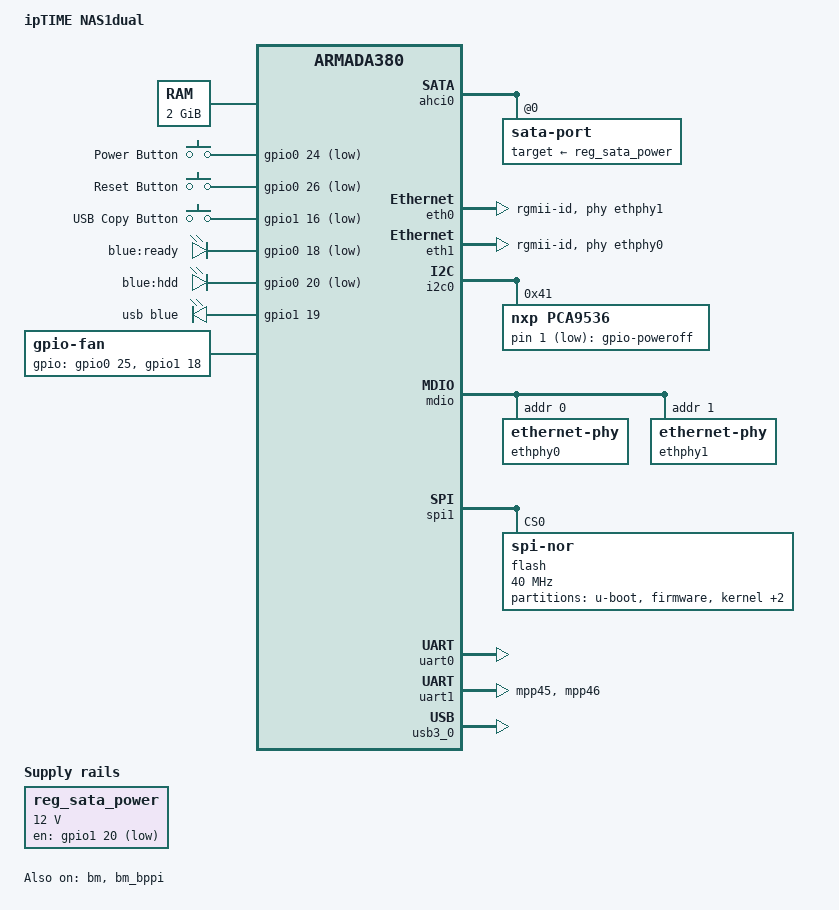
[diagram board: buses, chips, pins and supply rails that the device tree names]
// SPDX-License-Identifier: (GPL-2.0-only OR MIT)
/*
 * Device Tree file for ipTIME NAS1dual
 *
 * Copyright (C) 2020 Sungbo Eo <mans0n@gorani.run>
 *
 * Based on armada-385-linksys.dtsi
 * Copyright (C) 2015 Imre Kaloz <kaloz@openwrt.org>
 */

/dts-v1/;

#include <dt-bindings/gpio/gpio.h>
#include <dt-bindings/input/input.h>
#include <dt-bindings/leds/common.h>
#include "armada-385.dtsi"

/ {
	model = "ipTIME NAS1dual";
	compatible = "iptime,nas1dual", "marvell,armada385", "marvell,armada380";

	aliases {
		led-boot = &led_ready;
		led-failsafe = &led_ready;
		led-running = &led_ready;
		led-upgrade = &led_ready;
		label-mac-device = &eth0;
	};

	chosen {
		bootargs = "console=ttyS0,115200n8";
		stdout-path = "serial0:115200n8";
	};

	memory@0 {
		device_type = "memory";
		reg = <0x00000000 0x80000000>; /* 2GB */
	};

	soc {
		ranges = <MBUS_ID(0xf0, 0x01) 0 0xf1000000 0x100000
		          MBUS_ID(0x01, 0x1d) 0 0xfff00000 0x100000
		          MBUS_ID(0x09, 0x19) 0 0xf1100000 0x10000
		          MBUS_ID(0x09, 0x15) 0 0xf1110000 0x10000
		          MBUS_ID(0x0c, 0x04) 0 0xf1200000 0x100000>;
	};

	gpio-keys {
		compatible = "gpio-keys";
		pinctrl-names = "default";
		pinctrl-0 = <&gpio_keys_pins>;

		power {
			label = "Power Button";
			linux,input-type = <EV_SW>;
			linux,code = <KEY_POWER>;
			gpios = <&gpio0 24 GPIO_ACTIVE_LOW>;
		};

		reset {
			label = "Reset Button";
			linux,code = <KEY_RESTART>;
			gpios = <&gpio0 26 GPIO_ACTIVE_LOW>;
		};

		copy {
			label = "USB Copy Button";
			linux,code = <KEY_COPY>;
			gpios = <&gpio1 16 GPIO_ACTIVE_LOW>;
		};
	};

	gpio-leds {
		compatible = "gpio-leds";
		pinctrl-names = "default";
		pinctrl-0 = <&gpio_leds_pins>;

		led_ready: ready {
			label = "blue:ready";
			gpios = <&gpio0 18 GPIO_ACTIVE_LOW>;
		};

		hdd {
			label = "blue:hdd";
			gpios = <&gpio0 20 GPIO_ACTIVE_LOW>;
			linux,default-trigger = "disk-activity";
		};

		usb {
			function = LED_FUNCTION_USB;
			color = <LED_COLOR_ID_BLUE>;
			gpios = <&gpio1 19 GPIO_ACTIVE_HIGH>;
			trigger-sources = <&usb3_0_port1 &usb3_0_port2>;
			linux,default-trigger = "usbport";
		};
	};

	gpio-fan {
		compatible = "gpio-fan";
		pinctrl-names = "default";
		pinctrl-0 = <&gpio_fan_pins>;
		gpios = <&gpio0 25 GPIO_ACTIVE_HIGH>,
		        <&gpio1 18 GPIO_ACTIVE_HIGH>;
		/* We don't know the exact rpm, just use dummy values here. */
		gpio-fan,speed-map = <0 0>, <1 1>, <2 2>;
		#cooling-cells = <2>;
	};

	gpio-poweroff {
		compatible = "gpio-poweroff";
		gpios = <&pca9536 1 GPIO_ACTIVE_LOW>;
	};

	regulators {
		compatible = "simple-bus";
		#address-cells = <1>;
		#size-cells = <0>;
		pinctrl-names = "default";
		pinctrl-0 = <&sata_power_pins>;

		reg_sata_power: regulator@1 {
			compatible = "regulator-fixed";
			reg = <1>;
			regulator-name = "sata-power";
			regulator-min-microvolt = <12000000>;
			regulator-max-microvolt = <12000000>;
			gpios = <&gpio1 20 GPIO_ACTIVE_LOW>;
			regulator-always-on;
		};
	};
};

&ahci0 {
	status = "okay";
	#address-cells = <1>;
	#size-cells = <0>;

	sata-port@0 {
		reg = <0>;
		target-supply = <&reg_sata_power>;
		#thermal-sensor-cells = <0>;
	};
};

&bm {
	status = "okay";
};

&bm_bppi {
	status = "okay";
};

&eth0 {
	pinctrl-names = "default";
	pinctrl-0 = <&ge0_rgmii_pins>;
	status = "okay";
	phy-handle = <&ethphy1>;
	phy-connection-type = "rgmii-id";
	buffer-manager = <&bm>;
	bm,pool-long = <0>;
	bm,pool-short = <1>;
	nvmem-cells = <&macaddr_uboot_fffa8>;
	nvmem-cell-names = "mac-address";
};

&eth1 {
	pinctrl-names = "default";
	pinctrl-0 = <&ge1_rgmii_pins>;
	status = "okay";
	phy-handle = <&ethphy0>;
	phy-connection-type = "rgmii-id";
	buffer-manager = <&bm>;
	bm,pool-long = <2>;
	bm,pool-short = <3>;
	nvmem-cells = <&macaddr_uboot_fffa8>;
	nvmem-cell-names = "mac-address";
};

&i2c0 {
	pinctrl-names = "default";
	pinctrl-0 = <&i2c0_pins>;
	status = "okay";

	pca9536: gpio@41 {
		compatible = "nxp,pca9536";
		reg = <0x41>;
		gpio-controller;
		#gpio-cells = <2>;
		gpio-line-names = "power-led", "power-board";
	};
};

&mdio {
	pinctrl-names = "default";
	pinctrl-0 = <&mdio_pins>;

	/* LED1: On - Link, Blink - Activity, Off - No Link */

	ethphy0: ethernet-phy@0 {
		reg = <0>;
		marvell,reg-init = <3 16 0 0x1017>;
	};

	ethphy1: ethernet-phy@1 {
		reg = <1>;
		marvell,reg-init = <3 16 0 0x1017>;
	};
};

&pinctrl {
	gpio_keys_pins: gpio-keys-pins {
		marvell,pins = "mpp24", "mpp26", "mpp48";
		marvell,function = "gpio";
	};

	gpio_leds_pins: gpio-leds-pins {
		marvell,pins = "mpp18", "mpp20", "mpp51";
		marvell,function = "gpio";
	};

	gpio_fan_pins: gpio-fan-pins {
		marvell,pins = "mpp25", "mpp50";
		marvell,function = "gpio";
	};

	sata_power_pins: sata-power-pins {
		marvell,pins = "mpp52";
		marvell,function = "gpio";
	};

	uart1_pins_alt: uart-pins-1-alt {
		marvell,pins = "mpp45", "mpp46";
		marvell,function = "ua1";
	};
};

&spi1 {
	pinctrl-names = "default";
	pinctrl-0 = <&spi1_pins>;
	status = "okay";

	flash@0 {
		compatible = "jedec,spi-nor";
		reg = <0>;
		spi-max-frequency = <40000000>;

		partitions {
			compatible = "fixed-partitions";
			#address-cells = <1>;
			#size-cells = <1>;

			partition@0 {
				reg = <0x00000000 0x00100000>;
				label = "u-boot";
				read-only;

				nvmem-layout {
					compatible = "fixed-layout";
					#address-cells = <1>;
					#size-cells = <1>;

					macaddr_uboot_fffa8: macaddr@fffa8 {
						reg = <0xfffa8 0x6>;
					};
				};
			};

			partition@100000 {
				reg = <0x00100000 0x03ec0000>;
				label = "firmware";

				compatible = "fixed-partitions";
				#address-cells = <1>;
				#size-cells = <1>;

				partition@0 {
					reg = <0x00000000 0x00600000>;
					label = "kernel";
				};

				partition@600000 {
					reg = <0x00600000 0x038c0000>;
					label = "rootfs";
				};
			};

			partition@3fc0000 {
				reg = <0x03fc0000 0x00040000>;
				label = "config";
				read-only;
			};
		};
	};
};

&uart0 {
	pinctrl-names = "default";
	pinctrl-0 = <&uart0_pins>;
	status = "okay";
};

&uart1 {
	pinctrl-names = "default";
	pinctrl-0 = <&uart1_pins_alt>;
	status = "okay";
};

&usb3_0 {
	status = "okay";
	#address-cells = <1>;
	#size-cells = <0>;

	usb3_0_port1: port@1 {
		reg = <1>;
		#trigger-source-cells = <0>;
	};

	usb3_0_port2: port@2 {
		reg = <2>;
		#trigger-source-cells = <0>;
	};
};
